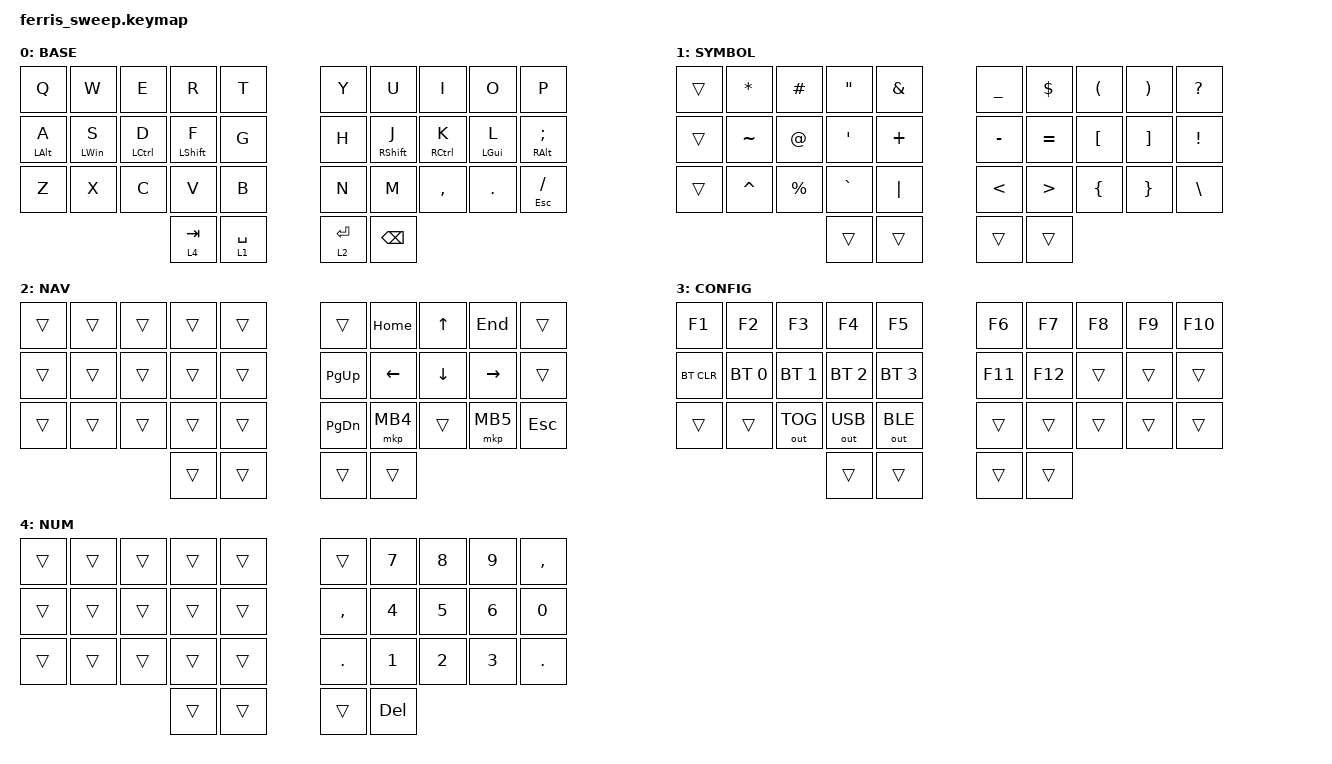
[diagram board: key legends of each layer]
/*
 * Copyright (c) 2020 The ZMK Contributors
 *
 * SPDX-License-Identifier: MIT
 */

#include <dt-bindings/zmk/mouse.h>
#include <behaviors.dtsi>
#include <dt-bindings/zmk/bt.h>
#include <dt-bindings/zmk/keys.h>
#include <dt-bindings/zmk/outputs.h>
#include <dt-bindings/zmk/pointing.h>

/ {
    behaviors {
        hrm_left: hrm_left {
            compatible = "zmk,behavior-hold-tap";
            label = "HRM_LEFT";
            bindings = <&kp>, <&kp>;

            #binding-cells = <2>;
            tapping-term-ms = <280>;
            quick-tap-ms = <175>;
            flavor = "balanced";
            require-prior-idle-ms = <150>;
            hold-trigger-key-positions = <32 33 25 26 15 5 6 16 7 8 9 17 18 19 27 28 29>;
            hold-trigger-on-release;
        };

        hrm_right: hrm_right {
            compatible = "zmk,behavior-hold-tap";
            label = "HRM_RIGHT";
            bindings = <&kp>, <&kp>;

            #binding-cells = <2>;
            tapping-term-ms = <280>;
            quick-tap-ms = <175>;
            flavor = "balanced";
            require-prior-idle-ms = <150>;
            hold-trigger-key-positions = <0 1 2 3 4 10 11 12 13 14 20 21 22 23 24 30 31>;
            hold-trigger-on-release;
        };

        cap_word: cap_word {
            compatible = "zmk,behavior-caps-word";
            label = "CAP_WORD";
            #binding-cells = <0>;
            continue-list = <MINUS SPACE BACKSPACE>;
        };
    };

    combos {
        compatible = "zmk,combos";

        word_cap {
            bindings = <&caps_word>;
            key-positions = <10 19>;
            timeout-ms = <60>;
            require-prior-idle-ms = <150>;
        };
    };

    keymap {
        compatible = "zmk,keymap";

        default_layer {
            // -----------------------------------------------------------------------------------------
            //   Q  |  W  |  E  |  R  |  T  |   |  Y  |  U   |  I  |  O  |  P  |
            //   A  |  S  |  D  |  F  |  G  |   |  H  |  J   |  K  |  L  |  ;  |
            //   Z  |  X  |  C  |  V  |  B  |   |  N  |  M   |  ,  |  .  |  /  |
            //                    | LWR | SPC |   | ENT | RSE  |
            display-name = "BASE"; 
            bindings = <
  &kp Q                 &kp W                 &kp E              &kp R                   &kp T          &kp Y        &kp U                     &kp I               &kp O              &kp P
  &hrm_left LEFT_ALT A  &hrm_left LEFT_WIN S  &hrm_left LCTRL D  &hrm_left LEFT_SHIFT F  &kp G          &kp H        &hrm_right RIGHT_SHIFT J  &hrm_right RCTRL K  &hrm_right LGUI L  &hrm_right RIGHT_ALT SEMICOLON
  &kp Z                 &kp X                 &kp C              &kp V                   &kp B          &kp N        &kp M                     &kp COMMA           &kp DOT            &mt ESC SLASH
                                                                 &lt 4 TAB               &lt 1 SPACE    &lt 2 ENTER  &kp BACKSPACE
            >;
        };

        SYMBOL {
            display-name = "SYMBOL"; 
            bindings = <
  &trans  &kp ASTRK  &kp HASH     &kp DOUBLE_QUOTES  &kp AMPS    &kp UNDERSCORE  &kp DOLLAR        &kp LEFT_PARENTHESIS  &kp RIGHT_PARENTHESIS  &kp QUESTION
  &trans  &kp TILDE  &kp AT       &kp SINGLE_QUOTE   &kp PLUS    &kp MINUS       &kp EQUAL         &kp LEFT_BRACKET      &kp RIGHT_BRACKET      &kp EXCL
  &trans  &kp CARET  &kp PERCENT  &kp GRAVE          &kp PIPE    &kp LT          &kp GREATER_THAN  &kp LEFT_BRACE        &kp RIGHT_BRACE        &kp BACKSLASH
                                  &trans             &trans      &trans          &trans
            >;
        };

        NAV {
            display-name = "NAV"; 
            bindings = <
  &trans  &trans  &trans  &trans  &trans    &trans         &kp HOME        &kp UP_ARROW  &kp END    &trans
  &trans  &trans  &trans  &trans  &trans    &kp PAGE_UP    &kp LEFT_ARROW  &kp DOWN      &kp RIGHT  &trans
  &trans  &trans  &trans  &trans  &trans    &kp PAGE_DOWN  &mkp MB4        &trans        &mkp MB5   &kp ESC
                          &trans  &trans    &trans         &trans
            >;
        };

        CONFIG {
            display-name = "CONFIG"; 
            bindings = <
  &kp F1      &kp F2        &kp F3        &kp F4        &kp F5          &kp F6   &kp F7   &kp F8  &kp F9  &kp F10
  &bt BT_CLR  &bt BT_SEL 0  &bt BT_SEL 1  &bt BT_SEL 2  &bt BT_SEL 3    &kp F11  &kp F12  &trans  &trans  &trans
  &trans      &trans        &out OUT_TOG  &out OUT_USB  &out OUT_BLE    &trans   &trans   &trans  &trans  &trans
                                          &trans        &trans          &trans   &trans
            >;
        };

        NUM {
            display-name = "NUM"; 
            bindings = <
  &trans  &trans  &trans  &trans  &trans    &trans     &kp NUMBER_7  &kp NUMBER_8  &kp NUMBER_9  &kp COMMA
  &trans  &trans  &trans  &trans  &trans    &kp COMMA  &kp NUMBER_4  &kp NUMBER_5  &kp NUMBER_6  &kp NUMBER_0
  &trans  &trans  &trans  &trans  &trans    &kp DOT    &kp NUMBER_1  &kp NUMBER_2  &kp NUMBER_3  &kp DOT
                          &trans  &trans    &trans     &kp DELETE
            >;
        };
    };

    conditional_layers {
        compatible = "zmk,conditional-layers";

        config {
            if-layers = <1 2>;
            then-layer = <3>;
        };
    };
};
